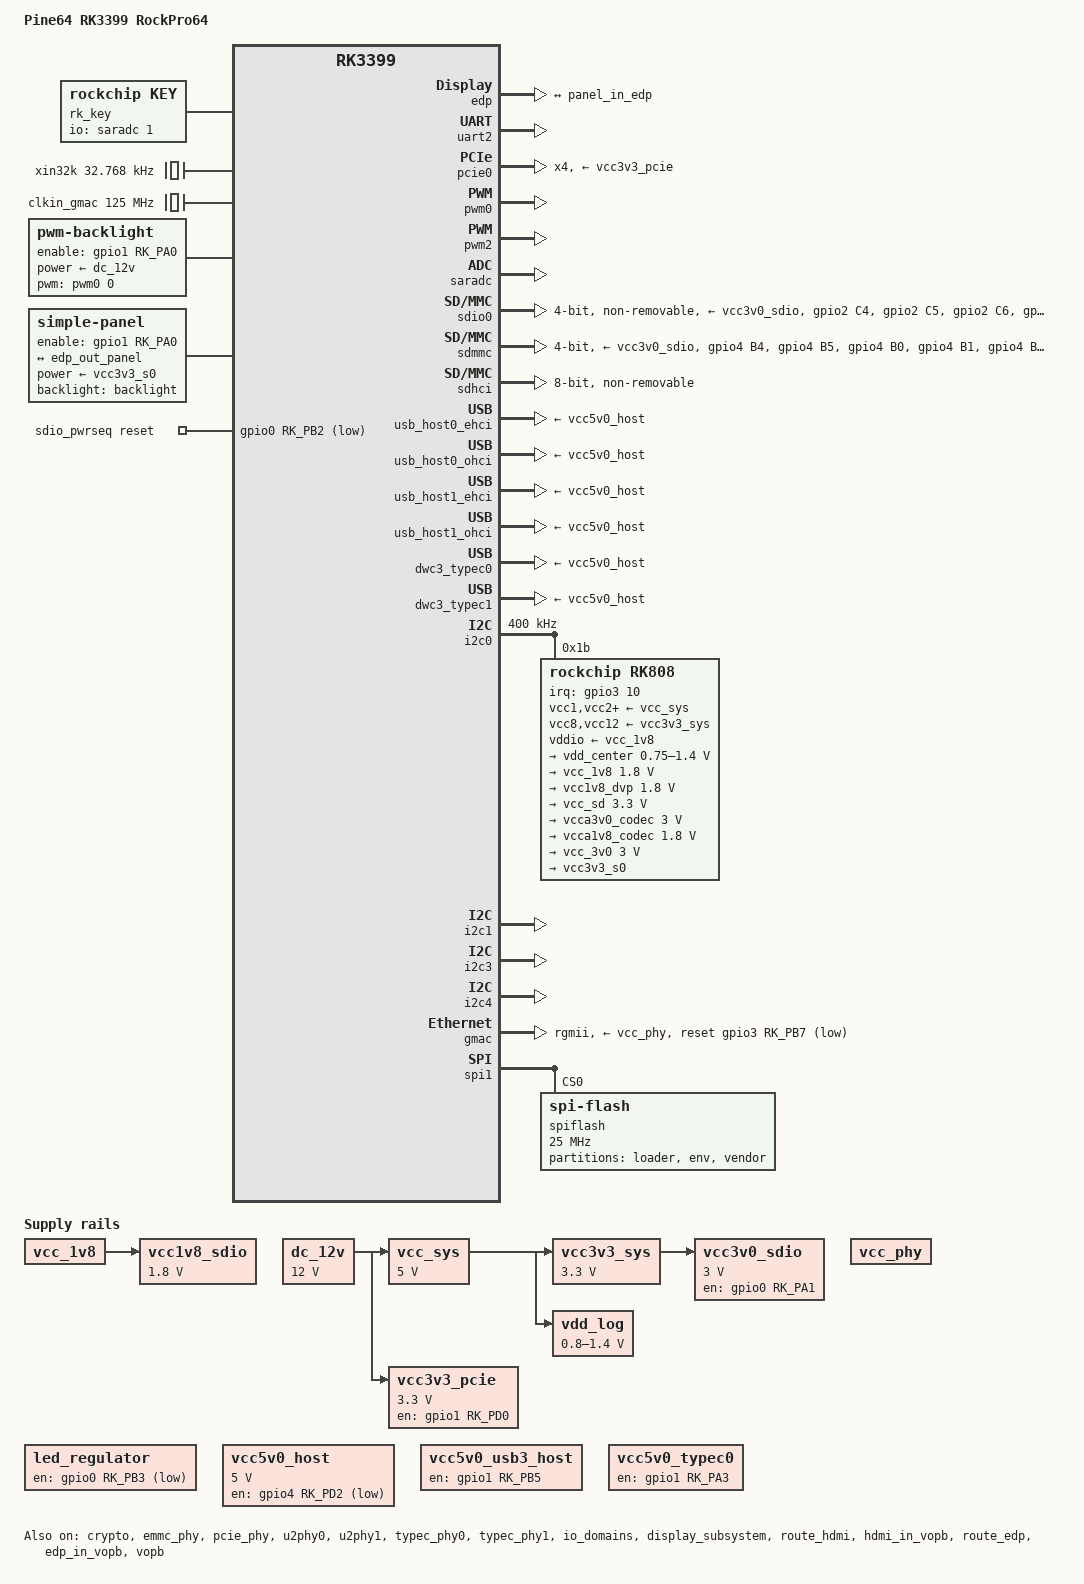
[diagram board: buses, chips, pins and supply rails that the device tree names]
/*
 * (C) Copyright 2016 Rockchip Electronics Co., Ltd
 *
 * SPDX-License-Identifier:     GPL-2.0+
 */

/dts-v1/;
#include <dt-bindings/pwm/pwm.h>
#include <dt-bindings/pinctrl/rockchip.h>
#include "rk3399.dtsi"
#include "rk3399-u-boot.dtsi"
#include <linux/media-bus-format.h>
#include <dt-bindings/input/input.h>

/ {
	model = "Pine64 RK3399 RockPro64";
	compatible = "rockchip,rk3399-evb", "rockchip,rk3399",
		     "google,rk3399evb-rev2";
/*
	forced-gpios {
		sdmmc-pwr-gpio = <&gpio0 RK_PA1 GPIO_ACTIVE_HIGH>;
	};
*/
	reserved-memory {
		#address-cells = <2>;
		#size-cells = <2>;
		ranges;

		drm_logo: drm-logo@00000000 {
			compatible = "rockchip,drm-logo";
			reg = <0x0 0x0 0x0 0x0>;
		};
	};

	rk_key: rockchip-key {
		u-boot,dm-pre-reloc;
		compatible = "rockchip,key";
		status = "okay";

		io-channels = <&saradc 1>;

		power-key {
			u-boot,dm-pre-reloc;
			gpios = <&gpio0 RK_PA5 GPIO_ACTIVE_LOW>;
			linux,code = <116>;
			label = "power";
			gpio-key,wakeup;
		};
	};

	xin32k: xin32k {
		compatible = "fixed-clock";
		clock-frequency = <32768>;
		clock-output-names = "xin32k";
		#clock-cells = <0>;
	};

	dc_12v: dc-12v {
		u-boot,dm-pre-reloc;
		compatible = "regulator-fixed";
		regulator-name = "dc_12v";
		regulator-always-on;
		regulator-boot-on;
		regulator-min-microvolt = <12000000>;
		regulator-max-microvolt = <12000000>;
	};

	vcc_sys: vcc-sys {
		u-boot,dm-pre-reloc;
		compatible = "regulator-fixed";
		regulator-name = "vcc_sys";
		regulator-min-microvolt = <5000000>;
		regulator-max-microvolt = <5000000>;
		regulator-always-on;
		regulator-boot-on;
		vin-supply = <&dc_12v>;
	};

	vcc3v3_sys: vcc3v3-sys {
		u-boot,dm-pre-reloc;
		compatible = "regulator-fixed";
		regulator-name = "vcc3v3_sys";
		regulator-always-on;
		regulator-boot-on;
		regulator-min-microvolt = <3300000>;
		regulator-max-microvolt = <3300000>;
		vin-supply = <&vcc_sys>;
	};

	vcc_phy: vcc-phy-regulator {
		compatible = "regulator-fixed";
		regulator-name = "vcc_phy";
		regulator-always-on;
		regulator-boot-on;
	};

	led_regulator: led-regulator {
		u-boot,dm-pre-reloc;
		compatible = "regulator-fixed";
		regulator-name = "led_regulator";
		gpio = <&gpio0 RK_PB3 GPIO_ACTIVE_HIGH>;
		pinctrl-names = "default";
		pinctrl-0 = <&led_pinctrl>;
		regulator-always-on;
		regulator-boot-on;
	};

	vcc5v0_host: vcc5v0-host-en {
		u-boot,dm-pre-reloc;
		compatible = "regulator-fixed";
		regulator-name = "vcc5v0_host";
		gpio = <&gpio4 RK_PD2 GPIO_ACTIVE_HIGH>;
		pinctrl-names = "default";
		pinctrl-0 = <&host_vbus_drv>;
		regulator-min-microvolt = <5000000>;
		regulator-max-microvolt = <5000000>;
		regulator-always-on;
		regulator-boot-on;
	};

	vcc5v0_usb3_host: vcc5v0-usb3-host-regulator {
		u-boot,dm-pre-reloc;
		compatible = "regulator-fixed";
		regulator-name = "vcc5v0_usb3_host";
		enable-active-high;
		gpio = <&gpio1 RK_PB5 GPIO_ACTIVE_HIGH>;
		pinctrl-names = "default";
		pinctrl-0 = <&host_usb3_drv>;
		regulator-always-on;
		regulator-boot-on;
	};

	vcc5v0_typec0: vcc5v0-typec0-en {
		u-boot,dm-pre-reloc;
		compatible = "regulator-fixed";
		regulator-name = "vcc5v0_typec0";
		enable-active-high;
		gpio = <&gpio1 RK_PA3 GPIO_ACTIVE_HIGH>;
		pinctrl-names = "default";
		pinctrl-0 = <&vcc5v0_typec_en>;
		regulator-always-on;
		regulator-boot-on;
	};

	clkin_gmac: external-gmac-clock {
		compatible = "fixed-clock";
		clock-frequency = <125000000>;
		clock-output-names = "clkin_gmac";
		#clock-cells = <0>;
	};

	backlight: backlight {
		status = "okay";
		compatible = "pwm-backlight";
		pwms = <&pwm0 0 25000 0>;
		power-supply = <&dc_12v>;
		enable-gpios = <&gpio1 RK_PA0 GPIO_ACTIVE_HIGH>;
		brightness-levels = <
			  0   1   2   3   4   5   6   7
			  8   9  10  11  12  13  14  15
			 16  17  18  19  20  21  22  23
			 24  25  26  27  28  29  30  31
			 32  33  34  35  36  37  38  39
			 40  41  42  43  44  45  46  47
			 48  49  50  51  52  53  54  55
			 56  57  58  59  60  61  62  63
			 64  65  66  67  68  69  70  71
			 72  73  74  75  76  77  78  79
			 80  81  82  83  84  85  86  87
			 88  89  90  91  92  93  94  95
			 96  97  98  99 100 101 102 103
			104 105 106 107 108 109 110 111
			112 113 114 115 116 117 118 119
			120 121 122 123 124 125 126 127
			128 129 130 131 132 133 134 135
			136 137 138 139 140 141 142 143
			144 145 146 147 148 149 150 151
			152 153 154 155 156 157 158 159
			160 161 162 163 164 165 166 167
			168 169 170 171 172 173 174 175
			176 177 178 179 180 181 182 183
			184 185 186 187 188 189 190 191
			192 193 194 195 196 197 198 199
			200 201 202 203 204 205 206 207
			208 209 210 211 212 213 214 215
			216 217 218 219 220 221 222 223
			224 225 226 227 228 229 230 231
			232 233 234 235 236 237 238 239
			240 241 242 243 244 245 246 247
			248 249 250 251 252 253 254 255>;
		default-brightness-level = <200>;
	};

	panel: panel {
		status = "okay";
		compatible = "simple-panel";
		backlight = <&backlight>;
		power-supply = <&vcc3v3_s0>;
		enable-gpios = <&gpio1 RK_PA0 GPIO_ACTIVE_HIGH>;
		prepare-delay-ms = <20>;
		enable-delay-ms = <20>;
		pinctrl-names = "default";
		pinctrl-0 = <&lcd_en>;

		ports {
			#address-cells = <1>;
			#size-cells = <0>;

			port: port@0 {
				reg = <0>;
				#address-cells = <1>;
				#size-cells = <0>;

				panel_in_edp: endpoint@0 {
					reg = <0>;
					remote-endpoint = <&edp_out_panel>;
				};
			};
		};
	};

	vcc3v3_pcie: vcc3v3-pcie-regulator {
		compatible = "regulator-fixed";
		enable-active-high;
		gpio = <&gpio1 RK_PD0 GPIO_ACTIVE_HIGH>;
		pinctrl-names = "default";
		pinctrl-0 = <&pcie_pwr_en>;
		regulator-name = "vcc3v3_pcie";
		regulator-min-microvolt = <3300000>;
		regulator-max-microvolt = <3300000>;
		vin-supply = <&dc_12v>;
	};

	vcc1v8_sdio: vcca1v8_sdio: vcc1v8-sdio {
		u-boot,dm-pre-reloc;
		compatible = "regulator-fixed";
		regulator-name = "vcc1v8_sdio";
		regulator-min-microvolt = <1800000>;
		regulator-max-microvolt = <1800000>;
		regulator-always-on;
		regulator-boot-on;
		vin-supply = <&vcc_1v8>;
	};

	vcc3v0_sdio: vcc3v0-sdio {
		u-boot,dm-pre-reloc;
		compatible = "regulator-fixed";
		regulator-name = "vcc3v0_sdio";
		regulator-init-microvolt = <3000000>;
		regulator-min-microvolt = <3000000>;
		regulator-max-microvolt = <3000000>;
		enable-active-high;
		gpio = <&gpio0 RK_PA1 GPIO_ACTIVE_HIGH>;
		pinctrl-names = "default";
		pinctrl-0 = <&sdmmc0_pwr_h>;
		regulator-always-on;
		regulator-boot-on;
		vin-supply = <&vcc3v3_sys>;
	};

	sdio_pwrseq: sdio-pwrseq {
		u-boot,dm-pre-reloc;
		compatible = "mmc-pwrseq-simple";
		clocks = <&rk808 1>;
		clock-names = "ext_clock";
		pinctrl-names = "default";
		pinctrl-0 = <&wifi_enable_h>;

		/*
		 * On the module itself this is one of these (depending
		 * on the actual card populated):
		 * - SDIO_RESET_L_WL_REG_ON
		 * - PDN (power down when low)
		 */
		reset-gpios = <&gpio0 RK_PB2 GPIO_ACTIVE_LOW>;
	};

	vdd_log: vdd_log {
		u-boot,dm-pre-reloc;
		compatible = "pwm-regulator";
		pwms = <&pwm2 0 25000 1>;
		pwm-supply = <&vcc_sys>;
		regulator-name = "vdd_log";
		regulator-always-on;
		regulator-boot-on;
		regulator-init-microvolt = <900000>;
		regulator-min-microvolt = <800000>;
		regulator-max-microvolt = <1400000>;

		/* for rockchip boot on */
		rockchip,pwm_id= <2>;
		rockchip,pwm_voltage = <900000>;
	};
};

&edp {
	status = "okay";

	ports {
		edp_out: port@1 {
			reg = <1>;
			#address-cells = <1>;
			#size-cells = <0>;

			edp_out_panel: endpoint@0 {
				reg = <0>;
				remote-endpoint = <&panel_in_edp>;
			};
		};
	};
};

&crypto {
	status = "okay";
};

&uart2 {
	status = "okay";
};

&emmc_phy {
	status = "okay";
};

&pcie_phy {
	status = "okay";
};

&pcie0 {
	ep-gpios = <&gpio2 RK_PD4 GPIO_ACTIVE_HIGH>;
	num-lanes = <4>;
	max-link-speed = <2>;
	pinctrl-names = "default";
	pinctrl-0 = <&pcie_clkreqn_cpm>;
	vpcie3v3-supply = <&vcc3v3_pcie>;
	bus-scan-delay-ms = <1000>;
	status = "okay";
};

&pwm0 {
	u-boot,dm-pre-reloc;
	status = "okay";
};

&pwm2 {
	u-boot,dm-pre-reloc;
	status = "okay";
	pinctrl-names = "active";
	pinctrl-0 = <&pwm2_pin_pull_down>;
};

&saradc {
	status = "okay";
};

&sdio0 {
	u-boot,dm-pre-reloc;
	clock-frequency = <50000000>;
	max-frequency = <90000000>;
	supports-sdio;
	bus-width = <4>;
	disable-wp;
	cap-sd-highspeed;
	cap-sdio-irq;
	keep-power-in-suspend;
	mmc-pwrseq = <&sdio_pwrseq>;
	non-removable;
	num-slots = <1>;
	pinctrl-names = "default";
	pinctrl-0 = <&sdio0_bus4 &sdio0_cmd &sdio0_clk>;
	sd-uhs-sdr104;
	vqmmc-supply = <&vcc1v8_sdio>;	/* IO line */
	vmmc-supply = <&vcc3v0_sdio>;		/* card's power */
	defer_pcie = <2000>;
	status = "okay";
};

&sdmmc {
	u-boot,dm-spl;
	clock-frequency = <50000000>;
	max-frequency = <150000000>;
	supports-sd;
	bus-width = <4>;
	cap-mmc-highspeed;
	cap-sd-highspeed;
	disable-wp;
	num-slots = <1>;
	sd-uhs-sdr12;
	sd-uhs-sdr25;
	sd-uhs-sdr50;
	sd-uhs-sdr104;
	vqmmc-supply = <&vcc_sd>;
	vmmc-supply = <&vcc3v0_sdio>;
	pinctrl-names = "default";
	pinctrl-0 = <&sdmmc_clk &sdmmc_cmd &sdmmc_cd &sdmmc_bus4>;
	//cd-gpios = <&gpio0 RK_PA7 GPIO_ACTIVE_LOW>;
	card-detect-delay = <800>;
	status = "okay";
};

&sdhci {
	u-boot,dm-spl;
	bus-width = <8>;
	max-frequency = <25000000>;
	mmc-hs400-1_8v;
	mmc-hs400-enhanced-strobe;
	non-removable;
	status = "okay";
};


&u2phy0 {
	/delete-property/ clocks;
	/delete-property/ clock-names;

	status = "okay";

	u2phy0_otg: otg-port {
		status = "okay";
	};

	u2phy0_host: host-port {
		phy-supply = <&vcc5v0_host>;
		status = "okay";
	};
};

&u2phy1 {
	/delete-property/ clocks;
	/delete-property/ clock-names;

	status = "okay";

	u2phy1_otg: otg-port {
		status = "okay";
	};

	u2phy1_host: host-port {
		phy-supply = <&vcc5v0_host>;
		status = "okay";
	};
};

&usb_host0_ehci {
	/delete-property/ clocks;
	/delete-property/ clock-names;

	vbus-supply = <&vcc5v0_host>;
	status = "okay";
};

&usb_host0_ohci {
	/delete-property/ clocks;
	/delete-property/ clock-names;

	vbus-supply = <&vcc5v0_host>;
	status = "okay";
};

&usb_host1_ehci {
	/delete-property/ clocks;
	/delete-property/ clock-names;

	vbus-supply = <&vcc5v0_host>;
	status = "okay";
};

&usb_host1_ohci {
	/delete-property/ clocks;
	/delete-property/ clock-names;

	vbus-supply = <&vcc5v0_host>;
	status = "okay";
};

&dwc3_typec0 {
	vbus-supply = <&vcc5v0_host>;
	status = "okay";
	maximum-speed = "high-speed";
};

&dwc3_typec1 {
	vbus-supply = <&vcc5v0_host>;
	status = "okay";
	maximum-speed = "high-speed";
};

&typec_phy0 {
	status = "okay";
};

&typec_phy1 {
	status = "okay";
};

&i2c0 {
	u-boot,dm-pre-reloc;
	clock-frequency = <400000>;
	i2c-scl-rising-time-ns = <168>;
	i2c-scl-falling-time-ns = <4>;
	status = "okay";

	rk808: pmic@1b {
		compatible = "rockchip,rk808";
		clock-output-names = "rk808-clkout1", "rk808-clkout2";
		interrupt-parent = <&gpio3>;
		interrupts = <10 IRQ_TYPE_LEVEL_LOW>;
		pinctrl-names = "default";
		pinctrl-0 = <&pmic_int_l>;
		reg = <0x1b>;
		rockchip,system-power-controller;
		#clock-cells = <1>;
		status = "okay";
		wakeup-source;

		vcc1-supply = <&vcc_sys>;
		vcc2-supply = <&vcc_sys>;
		vcc3-supply = <&vcc_sys>;
		vcc4-supply = <&vcc_sys>;
		vcc6-supply = <&vcc_sys>;
		vcc7-supply = <&vcc_sys>;
		vcc8-supply = <&vcc3v3_sys>;
		vcc9-supply = <&vcc_sys>;
		vcc10-supply = <&vcc_sys>;
		vcc11-supply = <&vcc_sys>;
		vcc12-supply = <&vcc3v3_sys>;
		vddio-supply = <&vcc_1v8>;

		regulators {
			vdd_center: DCDC_REG1 {
				regulator-name = "vdd_center";
				regulator-min-microvolt = <750000>;
				regulator-max-microvolt = <1400000>;
				regulator-ramp-delay = <6001>;
				regulator-always-on;
				regulator-boot-on;
				regulator-state-mem {
					regulator-off-in-suspend;
				};
			};

			vcc_1v8: DCDC_REG4 {
				regulator-name = "vcc_1v8";
				regulator-always-on;
				regulator-boot-on;
				regulator-min-microvolt = <1800000>;
				regulator-max-microvolt = <1800000>;
				regulator-state-mem {
					regulator-on-in-suspend;
					regulator-suspend-microvolt = <1800000>;
				};
			};

			vcc1v8_dvp: LDO_REG1 {
				regulator-name = "vcc1v8_dvp";
				regulator-min-microvolt = <1800000>;
				regulator-max-microvolt = <1800000>;
				regulator-always-on;
				regulator-boot-on;
				regulator-state-mem {
					regulator-on-in-suspend;
					regulator-suspend-microvolt = <1800000>;
				};
			};

			vcc_sd: LDO_REG4 {
				regulator-name = "vcc_sd";
				regulator-always-on;
				regulator-boot-on;
				regulator-min-microvolt = <3300000>;
				regulator-max-microvolt = <3300000>;
				regulator-state-mem {
					regulator-on-in-suspend;
					regulator-suspend-microvolt = <3300000>;
				};
			};

			vcca3v0_codec: LDO_REG5 {
				regulator-name = "vcca3v0_codec";
				regulator-min-microvolt = <3000000>;
				regulator-max-microvolt = <3000000>;
				regulator-always-on;
				regulator-boot-on;
				regulator-state-mem {
					regulator-on-in-suspend;
					regulator-suspend-microvolt = <3000000>;
				};
			};

			vcca1v8_codec: LDO_REG7 {
				regulator-name = "vcca1v8_codec";
				regulator-min-microvolt = <1800000>;
				regulator-max-microvolt = <1800000>;
				regulator-always-on;
				regulator-boot-on;
				regulator-state-mem {
					regulator-on-in-suspend;
					regulator-suspend-microvolt = <1800000>;
				};
			};

			vcc_3v0: LDO_REG8 {
				regulator-name = "vcc_3v0";
				regulator-always-on;
				regulator-boot-on;
				regulator-min-microvolt = <3000000>;
				regulator-max-microvolt = <3000000>;
				regulator-state-mem {
					regulator-on-in-suspend;
					regulator-suspend-microvolt = <3000000>;
				};
			};

			vcc3v3_s0: SWITCH_REG2 {
				regulator-name = "vcc3v3_s0";
				regulator-always-on;
				regulator-boot-on;
				regulator-state-mem {
					regulator-off-in-suspend;
				};
			};
		};
	};
};

&i2c1 {
	i2c-scl-rising-time-ns = <300>;
	i2c-scl-falling-time-ns = <15>;
	status = "okay";
};

&i2c3 {
	i2c-scl-rising-time-ns = <450>;
	i2c-scl-falling-time-ns = <15>;
	status = "okay";
};

&i2c4 {
	i2c-scl-rising-time-ns = <600>;
	i2c-scl-falling-time-ns = <20>;
	status = "okay";
};

&io_domains {
	u-boot,dm-pre-reloc;
	status = "okay";

	bt656-supply = <&vcc1v8_dvp>;
	audio-supply = <&vcca3v0_codec>;
	sdmmc-supply = <&vcc_sd>;
	gpio1830-supply = <&vcc_3v0>;
};

&pmu_io_domains {
	pmu1830-supply = <&vcc_3v0>;
	status = "okay";
};

&pinctrl {
	pmic {
		pmic_int_l: pmic-int-l {
			rockchip,pins =
				<3 RK_PB2 RK_FUNC_GPIO &pcfg_pull_up>;
		};
	};

	usb2 {
		host_vbus_drv: host-vbus-drv {
			rockchip,pins = <4 RK_PD2 RK_FUNC_GPIO &pcfg_pull_none>;
		};

		host_usb3_drv: host-usb3-drv {
			rockchip,pins = <1 RK_PB5 RK_FUNC_GPIO &pcfg_pull_none>;
		};
	};

	led {
		led_pinctrl: led-pinctrl {
			rockchip,pins = <0 RK_PB3 RK_FUNC_GPIO &pcfg_pull_none>;
		};
	};

	typec {
		vcc5v0_typec_en: vcc5v0-typec-en {
			rockchip,pins = <1 RK_PA3 RK_FUNC_GPIO &pcfg_pull_none>;
		};

	};

	sdio-pwrseq {
		wifi_enable_h: wifi-enable-h {
			rockchip,pins =
				<0 RK_PB2 RK_FUNC_GPIO &pcfg_pull_none>;
		};
	};

	pcfg_pull_up_20ma: pcfg-pull-up-20ma {
		bias-pull-up;
		drive-strength = <20>;
	};

	pcfg_pull_none_20ma: pcfg-pull-none-20ma {
		bias-disable;
		drive-strength = <20>;
	};

	sdio0 {
		sdio0_bus1: sdio0-bus1 {
			rockchip,pins =
				<2 RK_PC4 RK_FUNC_1 &pcfg_pull_up_20ma>;
		};

		sdio0_bus4: sdio0-bus4 {
			rockchip,pins =
				<2 RK_PC4 RK_FUNC_1 &pcfg_pull_up_20ma>,
				<2 RK_PC5 RK_FUNC_1 &pcfg_pull_up_20ma>,
				<2 RK_PC6 RK_FUNC_1 &pcfg_pull_up_20ma>,
				<2 RK_PC7 RK_FUNC_1 &pcfg_pull_up_20ma>;
		};

		sdio0_cmd: sdio0-cmd {
			rockchip,pins =
				<2 RK_PD0 RK_FUNC_1 &pcfg_pull_up_20ma>;
		};

		sdio0_clk: sdio0-clk {
			rockchip,pins =
				<2 RK_PD1 RK_FUNC_1 &pcfg_pull_none_20ma>;
		};
	};

	pcie {
		pcie_pwr_en: pcie-pwr-en {
			rockchip,pins =
				<1 RK_PD0 RK_FUNC_GPIO &pcfg_pull_none>;
		};
	};

	edp {
		lcd_en: lcd-en {
			rockchip,pins = <1 RK_PA0 RK_FUNC_GPIO &pcfg_pull_none>;
		};
	};

	sdmmc {
		sdmmc_bus1: sdmmc-bus1 {
			rockchip,pins =
				<4 RK_PB0 RK_FUNC_1 &pcfg_pull_up_8ma>;
		};

		sdmmc_bus4: sdmmc-bus4 {
			rockchip,pins =
				<4 RK_PB0 RK_FUNC_1 &pcfg_pull_up_8ma>,
				<4 RK_PB1 RK_FUNC_1 &pcfg_pull_up_8ma>,
				<4 RK_PB2 RK_FUNC_1 &pcfg_pull_up_8ma>,
				<4 RK_PB3 RK_FUNC_1 &pcfg_pull_up_8ma>;
		};

		sdmmc_clk: sdmmc-clk {
			rockchip,pins =
				<4 RK_PB4 RK_FUNC_1 &pcfg_pull_none_18ma>;
		};

		sdmmc_cmd: sdmmc-cmd {
			rockchip,pins =
				<4 RK_PB5 RK_FUNC_1 &pcfg_pull_up_8ma>;
		};
		
		sdmmc0_pwr_h: sdmmc0-pwr-h {
			rockchip,pins = <0 RK_PA1 RK_FUNC_GPIO &pcfg_pull_none>;
		};
	};
};

&gmac {
        phy-supply = <&vcc_phy>;
	phy-mode = "rgmii";
	clock_in_out = "input";
	snps,reset-gpio = <&gpio3 RK_PB7 GPIO_ACTIVE_LOW>;
	snps,reset-active-low;
	snps,reset-delays-us = <0 10000 50000>;
	assigned-clocks = <&cru SCLK_RMII_SRC>;
	assigned-clock-parents = <&clkin_gmac>;
	pinctrl-names = "default";
	pinctrl-0 = <&rgmii_pins>;
	tx_delay = <0x28>;
	rx_delay = <0x20>;
	status = "okay";
};

&display_subsystem {
	status = "okay";
	logo-memory-region = <&drm_logo>;
};

&route_hdmi {
	status = "okay";
};

&hdmi_in_vopl {
	status = "disabled";
};

&hdmi_in_vopb {
	status = "okay";
};

&route_edp {
	status = "okay";
};

&edp_in_vopl {
	status = "disabled";
};

&edp_in_vopb {
	status = "okay";
};

&vopb {
	status = "okay";
};

&spi1 {
	u-boot,dm-spl;
	status = "okay";

	spiflash: spi-flash@0 {
		u-boot,dm-spl;
		#address-cells = <0x1>;
		#size-cells = <1>;
		compatible = "spi-flash";
		reg = <0x0>;
		spi-max-frequency = <25000000>;
		status = "okay";

		partitions {
			compatible = "fixed-partitions";
			#address-cells = <1>;
			#size-cells = <1>;

			loader@8000 {
				label = "loader";
				reg = <0x0 0x3F8000>;
			};

			env@3f8000 {
				label = "env";
				reg = <0x3F8000 0x8000>;
			};

			vendor@7c0000 {
				label = "vendor";
				reg = <0x7C0000 0x40000>;
			};
		};
	};
};
